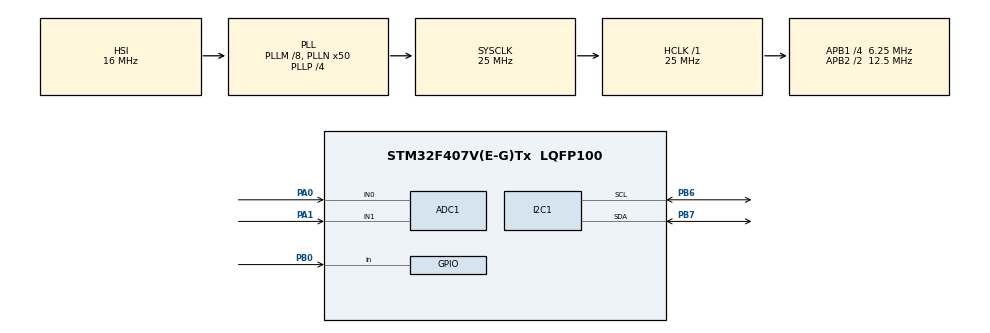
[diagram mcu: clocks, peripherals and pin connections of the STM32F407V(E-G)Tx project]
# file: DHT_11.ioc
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ADC1.Channel-0\#ChannelRegularConversion=ADC_CHANNEL_0
ADC1.NbrOfConversionFlag=1
ADC1.Rank-0\#ChannelRegularConversion=1
ADC1.SamplingTime-0\#ChannelRegularConversion=ADC_SAMPLETIME_3CYCLES
ADC1.master=1
Mcu.Family=STM32F4
Mcu.Name=STM32F407V(E-G)Tx
Mcu.Package=LQFP100
NVIC.PriorityGroup=NVIC_PRIORITYGROUP_0
PA0-WKUP.Signal=ADCx_IN0
PA1.Signal=ADCx_IN1
PB0.Signal=GPIO_Input
PB6.Mode=I2C
PB6.Signal=I2C1_SCL
PB7.Mode=I2C
PB7.Signal=I2C1_SDA
ProjectManager.HeapSize=0x200
ProjectManager.StackSize=0x400
ProjectManager.TargetToolchain=STM32CubeIDE
RCC.48MHZClocksFreq_Value=14285714.285714285
RCC.AHBFreq_Value=25000000
RCC.APB1CLKDivider=RCC_HCLK_DIV4
RCC.APB1Freq_Value=6250000
RCC.APB1TimFreq_Value=12500000
RCC.APB2CLKDivider=RCC_HCLK_DIV2
RCC.APB2Freq_Value=12500000
RCC.APB2TimFreq_Value=25000000
RCC.CortexFreq_Value=25000000
RCC.HCLKFreq_Value=25000000
RCC.HSE_VALUE=8000000
RCC.HSI_VALUE=16000000
RCC.LSE_VALUE=32768
RCC.PLLM=8
RCC.PLLN=50
RCC.PLLP=RCC_PLLP_DIV4
RCC.PLLQ=7
RCC.SYSCLKFreq_VALUE=25000000
RCC.SYSCLKSource=RCC_SYSCLKSOURCE_PLLCLK
RCC.VCOOutputFreq_Value=100000000
SH.ADCx_IN0.0=ADC1_IN0,IN0
SH.ADCx_IN1.0=ADC1_IN1,IN1
board=STM32F407G-DISC1

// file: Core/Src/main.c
/* USER CODE BEGIN Header */
/**
  ******************************************************************************
  * @file           : main.c
  * @brief          : Main program body
  ******************************************************************************
  * @attention
  *
  * Copyright (c) 2025 STMicroelectronics.
  * All rights reserved.
  *
  * This software is licensed under terms that can be found in the LICENSE file
  * in the root directory of this software component.
  * If no LICENSE file comes with this software, it is provided AS-IS.
  *
  ******************************************************************************
  */
/* USER CODE END Header */
#include "main.h"

/* USER CODE BEGIN Includes */
//-------------------------------------------------------------------------------------------------------
#include<stdio.h>
#include "my_lcd.h"
//-------------------------------------------------------------------------------------------------------
/* USER CODE END Includes */

ADC_HandleTypeDef hadc1;

I2C_HandleTypeDef hi2c1;

void SystemClock_Config(void);
static void MX_GPIO_Init(void);
static void MX_ADC1_Init(void);
static void MX_I2C1_Init(void);

/* USER CODE BEGIN 0 */
//-----------------------------------------------------------------------------------------------------------------------

#define DHT11_PORT GPIOB
#define DHT11_PIN  GPIO_PIN_0

void DWT_Init(void)
{
    CoreDebug->DEMCR |= CoreDebug_DEMCR_TRCENA_Msk;
    DWT->CYCCNT = 0;
    DWT->CTRL |= DWT_CTRL_CYCCNTENA_Msk;
}

void DWT_Delay_us(uint32_t us)
{
    uint32_t cycles = (SystemCoreClock / 1000000) * us;
    uint32_t start = DWT->CYCCNT;
    while ((DWT->CYCCNT - start) < cycles);
}
//-----------------------------------
/* ---------- GPIO direction control ---------- */
static void DHT11_Pin_Output(void)
{
    GPIO_InitTypeDef GPIO_InitStruct = {0};
    GPIO_InitStruct.Pin = DHT11_PIN;
    GPIO_InitStruct.Mode = GPIO_MODE_OUTPUT_OD;
    GPIO_InitStruct.Pull = GPIO_NOPULL;
    GPIO_InitStruct.Speed = GPIO_SPEED_FREQ_HIGH;
    HAL_GPIO_Init(DHT11_PORT, &GPIO_InitStruct);
}

static void DHT11_Pin_Input(void)
{
    GPIO_InitTypeDef GPIO_InitStruct = {0};
    GPIO_InitStruct.Pin = DHT11_PIN;
    GPIO_InitStruct.Mode = GPIO_MODE_INPUT;
    GPIO_InitStruct.Pull = GPIO_NOPULL;
    HAL_GPIO_Init(DHT11_PORT, &GPIO_InitStruct);
}

/* ---------- Main Read Function ---------- */

uint8_t DHT11_Read(uint8_t *temperature, uint8_t *humidity)
{
    uint8_t data[5] = {0};
    uint32_t timeout;

    /* ===== MCU start signal ===== */
    DHT11_Pin_Output();
    HAL_GPIO_WritePin(DHT11_PORT, DHT11_PIN, GPIO_PIN_RESET);
    HAL_Delay(18);

    HAL_GPIO_WritePin(DHT11_PORT, DHT11_PIN, GPIO_PIN_SET);
    DWT_Delay_us(30);

    DHT11_Pin_Input();
    DWT_Delay_us(10);   // <-- IMPORTANT

    /* ===== DHT11 response ===== */
    // LOW (80us)
    timeout = 100;
    while (HAL_GPIO_ReadPin(DHT11_PORT, DHT11_PIN))
    {
        if (--timeout == 0)
        	return 1;
        DWT_Delay_us(1);
    }

    // HIGH (80us)
    timeout = 100;
    while (!HAL_GPIO_ReadPin(DHT11_PORT, DHT11_PIN))
    {
        if (--timeout == 0)
        	return 1;
        DWT_Delay_us(1);
    }

    // LOW before data
    timeout = 100;
    while (HAL_GPIO_ReadPin(DHT11_PORT, DHT11_PIN))
    {
        if (--timeout == 0) return 1;
        DWT_Delay_us(1);
    }

    /* ===== Read 5 bytes ===== */
    for (uint8_t byte = 0; byte < 5; byte++)
    {
        for (uint8_t bit = 0; bit < 8; bit++)
        {
            timeout = 100;
            while (!HAL_GPIO_ReadPin(DHT11_PORT, DHT11_PIN))
            {
                if (--timeout == 0)
                	return 2;
                DWT_Delay_us(1);
            }

            DWT_Delay_us(30);

            if (HAL_GPIO_ReadPin(DHT11_PORT, DHT11_PIN))
                data[byte] |= (1 << (7 - bit));

            timeout = 100;
            while (HAL_GPIO_ReadPin(DHT11_PORT, DHT11_PIN))
            {
                if (--timeout == 0)
                	return 2;
                DWT_Delay_us(1);
            }
        }
    }

    /* ===== Checksum ===== */
//    if ((uint8_t)(data[0] + data[1] + data[2] + data[3]) != data[4])
//        return 3;

    *humidity    = data[0];
    *temperature = data[2];

    return 0;
}
//---------------------------------------------------------------------------------------------------------------------
uint16_t MQ135_Read_ADC(void)
{
    uint16_t adc_value = 0;

    HAL_ADC_Start(&hadc1);                      // Start ADC
    HAL_ADC_PollForConversion(&hadc1, HAL_MAX_DELAY); // Wait for conversion
    adc_value = HAL_ADC_GetValue(&hadc1);       // Read ADC value
    HAL_ADC_Stop(&hadc1);                       // Stop ADC

    return adc_value;                           // 0 to 4095
}

/***************************
Note : MQ-22 => Connect ADC1 => Pin PA0
       DHT-11 => GPIO I/P    => Pin PB0

//*******************************/

//------------------------------------------------------------------------------------------------------------------------
/* USER CODE END 0 */

int main(void)
{

  /* USER CODE BEGIN 1 */
//----------------------------------------------------------------------------------------------------------------------------
	char str[20];
	uint8_t temp,humdt;
//----------------------------------------------------------------------------------------------------------------------------
  /* USER CODE END 1 */

  /* MCU Configuration--------------------------------------------------------*/

  /* Reset of all peripherals, Initializes the Flash interface and the Systick. */
  HAL_Init();

  /* Configure the system clock */
  SystemClock_Config();

  /* Initialize all configured peripherals */
  MX_GPIO_Init();
  MX_ADC1_Init();
  MX_I2C1_Init();
  /* USER CODE BEGIN 2 */
  //--------------------------------------------------------------------------------------------
  DWT_Init();
  if ( !lcd16x2_i2c_init(&hi2c1))
    {
        // LCD not detected
        while(1);
    }

    lcd16x2_i2c_clear();

    //Print on 1st line
    lcd16x2_i2c_setCursor(0, 0);   // Row 0, Col 0
    lcd16x2_i2c_printf("sunbeam");
    DWT_Delay_us(2000000);
    uint8_t test;
    uint16_t mq135_adc;
//---------------------------------------------------------------------------------------------------
  /* USER CODE END 2 */

  /* Infinite loop */
  /* USER CODE BEGIN WHILE */
  while (1)
  {
	  lcd16x2_i2c_clear();
	  lcd16x2_i2c_printf("loop");
	  DWT_Delay_us(2000000);
    /* USER CODE END WHILE */

    /* USER CODE BEGIN 3 */
	  test = DHT11_Read(&temp,&humdt);
	  sprintf(str,"retun = %u ",test);
	  lcd16x2_i2c_clear();
	  lcd16x2_i2c_printf(str);
	  DWT_Delay_us(2000000);

	  if(test == 0 )
	  {
		  sprintf(str,"Temp = %u ",temp);
		  lcd16x2_i2c_clear();
		  lcd16x2_i2c_printf(str);
		  lcd16x2_i2c_setCursor(1, 0);
		  sprintf(str,"Humi = %u",humdt);
		  lcd16x2_i2c_printf(str);
		  DWT_Delay_us(2000000);
	  }
	  else
	  {
		  lcd16x2_i2c_clear();
		  lcd16x2_i2c_printf("else");
		  DWT_Delay_us(2000000);
	  }
	  //-----------------------------------------------------------
	  	  lcd16x2_i2c_clear();
	  	  mq135_adc = MQ135_Read_ADC();

	  	  sprintf(str,"Gas: %u",mq135_adc);
	  	  lcd16x2_i2c_printf(str);
	  	DWT_Delay_us(2000000);
	  //-----------------------------------------------------------
  }
  /* USER CODE END 3 */
}

void SystemClock_Config(void)
{
  RCC_OscInitTypeDef RCC_OscInitStruct = {0};
  RCC_ClkInitTypeDef RCC_ClkInitStruct = {0};

  /** Configure the main internal regulator output voltage
  */
  __HAL_RCC_PWR_CLK_ENABLE();
  __HAL_PWR_VOLTAGESCALING_CONFIG(PWR_REGULATOR_VOLTAGE_SCALE1);

  /** Initializes the RCC Oscillators according to the specified parameters
  * in the RCC_OscInitTypeDef structure.
  */
  RCC_OscInitStruct.OscillatorType = RCC_OSCILLATORTYPE_HSI;
  RCC_OscInitStruct.HSIState = RCC_HSI_ON;
  RCC_OscInitStruct.HSICalibrationValue = RCC_HSICALIBRATION_DEFAULT;
  RCC_OscInitStruct.PLL.PLLState = RCC_PLL_ON;
  RCC_OscInitStruct.PLL.PLLSource = RCC_PLLSOURCE_HSI;
  RCC_OscInitStruct.PLL.PLLM = 8;
  RCC_OscInitStruct.PLL.PLLN = 50;
  RCC_OscInitStruct.PLL.PLLP = RCC_PLLP_DIV4;
  RCC_OscInitStruct.PLL.PLLQ = 7;
  if (HAL_RCC_OscConfig(&RCC_OscInitStruct) != HAL_OK)
  {
    Error_Handler();
  }

  /** Initializes the CPU, AHB and APB buses clocks
  */
  RCC_ClkInitStruct.ClockType = RCC_CLOCKTYPE_HCLK|RCC_CLOCKTYPE_SYSCLK
                              |RCC_CLOCKTYPE_PCLK1|RCC_CLOCKTYPE_PCLK2;
  RCC_ClkInitStruct.SYSCLKSource = RCC_SYSCLKSOURCE_PLLCLK;
  RCC_ClkInitStruct.AHBCLKDivider = RCC_SYSCLK_DIV1;
  RCC_ClkInitStruct.APB1CLKDivider = RCC_HCLK_DIV4;
  RCC_ClkInitStruct.APB2CLKDivider = RCC_HCLK_DIV2;

  if (HAL_RCC_ClockConfig(&RCC_ClkInitStruct, FLASH_LATENCY_0) != HAL_OK)
  {
    Error_Handler();
  }
}

static void MX_ADC1_Init(void)
{

  ADC_ChannelConfTypeDef sConfig = {0};

  /** Configure the global features of the ADC (Clock, Resolution, Data Alignment and number of conversion)
  */
  hadc1.Instance = ADC1;
  hadc1.Init.ClockPrescaler = ADC_CLOCK_SYNC_PCLK_DIV2;
  hadc1.Init.Resolution = ADC_RESOLUTION_12B;
  hadc1.Init.ScanConvMode = DISABLE;
  hadc1.Init.ContinuousConvMode = DISABLE;
  hadc1.Init.DiscontinuousConvMode = DISABLE;
  hadc1.Init.ExternalTrigConvEdge = ADC_EXTERNALTRIGCONVEDGE_NONE;
  hadc1.Init.ExternalTrigConv = ADC_SOFTWARE_START;
  hadc1.Init.DataAlign = ADC_DATAALIGN_RIGHT;
  hadc1.Init.NbrOfConversion = 1;
  hadc1.Init.DMAContinuousRequests = DISABLE;
  hadc1.Init.EOCSelection = ADC_EOC_SINGLE_CONV;
  if (HAL_ADC_Init(&hadc1) != HAL_OK)
  {
    Error_Handler();
  }

  /** Configure for the selected ADC regular channel its corresponding rank in the sequencer and its sample time.
  */
  sConfig.Channel = ADC_CHANNEL_0;
  sConfig.Rank = 1;
  sConfig.SamplingTime = ADC_SAMPLETIME_3CYCLES;
  if (HAL_ADC_ConfigChannel(&hadc1, &sConfig) != HAL_OK)
  {
    Error_Handler();
  }

}

static void MX_I2C1_Init(void)
{

  hi2c1.Instance = I2C1;
  hi2c1.Init.ClockSpeed = 100000;
  hi2c1.Init.DutyCycle = I2C_DUTYCYCLE_2;
  hi2c1.Init.OwnAddress1 = 0;
  hi2c1.Init.AddressingMode = I2C_ADDRESSINGMODE_7BIT;
  hi2c1.Init.DualAddressMode = I2C_DUALADDRESS_DISABLE;
  hi2c1.Init.OwnAddress2 = 0;
  hi2c1.Init.GeneralCallMode = I2C_GENERALCALL_DISABLE;
  hi2c1.Init.NoStretchMode = I2C_NOSTRETCH_DISABLE;
  if (HAL_I2C_Init(&hi2c1) != HAL_OK)
  {
    Error_Handler();
  }

}

static void MX_GPIO_Init(void)
{
  GPIO_InitTypeDef GPIO_InitStruct = {0};

  /* GPIO Ports Clock Enable */
  __HAL_RCC_GPIOA_CLK_ENABLE();
  __HAL_RCC_GPIOB_CLK_ENABLE();

  /*Configure GPIO pin : PB0 */
  GPIO_InitStruct.Pin = GPIO_PIN_0;
  GPIO_InitStruct.Mode = GPIO_MODE_INPUT;
  GPIO_InitStruct.Pull = GPIO_NOPULL;
  HAL_GPIO_Init(GPIOB, &GPIO_InitStruct);

}

void Error_Handler(void)
{
  __disable_irq();
  while (1)
  {
  }
}
